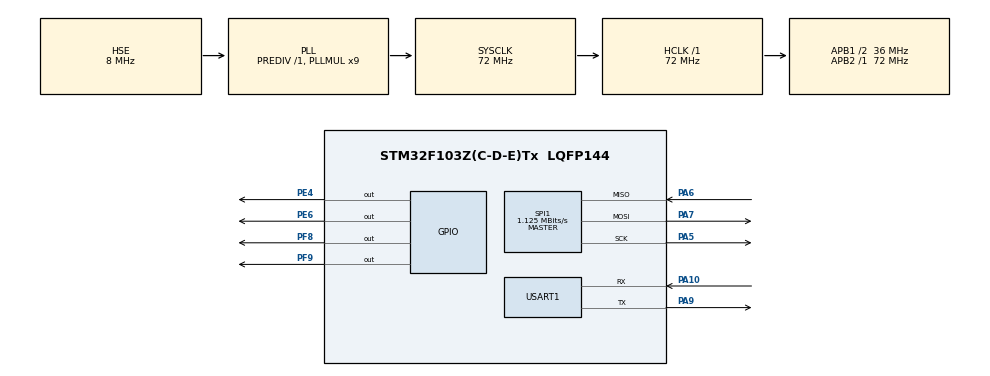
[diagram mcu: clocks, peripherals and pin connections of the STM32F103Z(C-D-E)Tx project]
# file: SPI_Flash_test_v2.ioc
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Mcu.Family=STM32F1
Mcu.Name=STM32F103Z(C-D-E)Tx
Mcu.Package=LQFP144
NVIC.PriorityGroup=NVIC_PRIORITYGROUP_4
OSC_IN.Mode=HSE-External-Oscillator
OSC_IN.Signal=RCC_OSC_IN
OSC_OUT.Mode=HSE-External-Oscillator
OSC_OUT.Signal=RCC_OSC_OUT
PA10.Mode=Asynchronous
PA10.Signal=USART1_RX
PA13.Mode=Serial_Wire
PA13.Signal=SYS_JTMS-SWDIO
PA14.Mode=Serial_Wire
PA14.Signal=SYS_JTCK-SWCLK
PA5.Mode=Full_Duplex_Master
PA5.Signal=SPI1_SCK
PA6.Mode=Full_Duplex_Master
PA6.Signal=SPI1_MISO
PA7.Mode=Full_Duplex_Master
PA7.Signal=SPI1_MOSI
PA9.Mode=Asynchronous
PA9.Signal=USART1_TX
PE4.PinState=GPIO_PIN_SET
PE4.Signal=GPIO_Output
PE6.PinState=GPIO_PIN_SET
PE6.Signal=GPIO_Output
PF8.GPIO_ModeDefaultOutputPP=GPIO_MODE_OUTPUT_OD
PF8.GPIO_PuPd=GPIO_NOPULL
PF8.PinState=GPIO_PIN_SET
PF8.Signal=GPIO_Output
PF9.GPIO_ModeDefaultOutputPP=GPIO_MODE_OUTPUT_OD
PF9.GPIO_PuPd=GPIO_NOPULL
PF9.Signal=GPIO_Output
ProjectManager.HeapSize=0x200
ProjectManager.StackSize=0x400
ProjectManager.TargetToolchain=MDK-ARM V5.32
RCC.AHBFreq_Value=72000000
RCC.APB1CLKDivider=RCC_HCLK_DIV2
RCC.APB1Freq_Value=36000000
RCC.APB1TimFreq_Value=72000000
RCC.APB2Freq_Value=72000000
RCC.APB2TimFreq_Value=72000000
RCC.HCLKFreq_Value=72000000
RCC.PLLMUL=RCC_PLL_MUL9
RCC.PLLSourceVirtual=RCC_PLLSOURCE_HSE
RCC.SYSCLKFreq_VALUE=72000000
RCC.SYSCLKSource=RCC_SYSCLKSOURCE_PLLCLK
RCC.USBFreq_Value=72000000
SPI1.BaudRatePrescaler=SPI_BAUDRATEPRESCALER_64
SPI1.CalculateBaudRate=1.125 MBits/s
SPI1.Direction=SPI_DIRECTION_2LINES
SPI1.Mode=SPI_MODE_MASTER
SPI1.VirtualType=VM_MASTER
USART1.Parity=PARITY_ODD
USART1.VirtualMode=VM_ASYNC
USART1.WordLength=WORDLENGTH_9B
board=custom

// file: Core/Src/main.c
/* USER CODE BEGIN Header */
/**
  ******************************************************************************
  * @file           : main.c
  * @brief          : Main program body
  ******************************************************************************
  * @attention
  *
  * Copyright (c) 2026 STMicroelectronics.
  * All rights reserved.
  *
  * This software is licensed under terms that can be found in the LICENSE file
  * in the root directory of this software component.
  * If no LICENSE file comes with this software, it is provided AS-IS.
  *
  ******************************************************************************
  */
/* USER CODE END Header */
#include "main.h"

/* USER CODE BEGIN Includes */
#include "BSP_LED.h"
#include "BSP_Usart_Redir.h"
#include "BSP_W25Q64.h"
/* USER CODE END Includes */

SPI_HandleTypeDef hspi1;

UART_HandleTypeDef huart1;

void SystemClock_Config(void);
static void MX_GPIO_Init(void);
static void MX_SPI1_Init(void);
static void MX_USART1_UART_Init(void);

int main(void)
{

  /* MCU Configuration--------------------------------------------------------*/

  /* Reset of all peripherals, Initializes the Flash interface and the Systick. */
  HAL_Init();

  /* Configure the system clock */
  SystemClock_Config();

  /* Initialize all configured peripherals */
  MX_GPIO_Init();
  MX_SPI1_Init();
  MX_USART1_UART_Init();
  /* USER CODE BEGIN 2 */
  BSP_Usart_Init(&huart1);
  BSP_W25Qxx_Init(&hspi1);

  /* USER CODE END 2 */

  /* Infinite loop */
  /* USER CODE BEGIN WHILE */
  BSP_W25Qxx_Get_SR1();
  BSP_W25Qxx_Write_Enable();
  BSP_W25Qxx_Get_SR1();
  BSP_W25Qxx_Write_Disable();
  BSP_W25Qxx_Get_SR1();

  uint32_t begin_address = 0;
  uint32_t end_address = 4092;
  uint32_t rx_buffer_first = 0;
  uint32_t rx_buffer_end = 0;
  uint32_t page_program = 0;

  BSP_W25Qxx_Read_Data(begin_address, (uint8_t *)&rx_buffer_first, sizeof(rx_buffer_first));
  BSP_W25Qxx_Read_Data(end_address, (uint8_t *)&rx_buffer_end, sizeof(rx_buffer_end));
  printf(">> 擦除前: rx_buffer_first: 0x%x, rx_buffer_end: 0x%x <<\n", rx_buffer_first, rx_buffer_end);
  BSP_W25Qxx_Sector_Erase(begin_address);
  BSP_W25Qxx_Read_Data(begin_address, (uint8_t *)&rx_buffer_first, sizeof(rx_buffer_first));
  BSP_W25Qxx_Read_Data(end_address, (uint8_t *)&rx_buffer_end, sizeof(rx_buffer_end));
  printf(">> 擦除后: rx_buffer_first: 0x%x, rx_buffer_end: 0x%x <<\n", rx_buffer_first, rx_buffer_end);
  BSP_W25Qxx_Page_Program(0, 0, (uint8_t *)&page_program, sizeof(page_program));
  BSP_W25Qxx_Read_Data(begin_address, (uint8_t *)&rx_buffer_first, sizeof(rx_buffer_first));
  BSP_W25Qxx_Read_Data(end_address, (uint8_t *)&rx_buffer_end, sizeof(rx_buffer_end));
  printf(">> 页编程后: rx_buffer_first: 0x%x, rx_buffer_end: 0x%x <<\n", rx_buffer_first, rx_buffer_end);

  while (1)
  {
    /* USER CODE END WHILE */

  }
}

void SystemClock_Config(void)
{
  RCC_OscInitTypeDef RCC_OscInitStruct = {0};
  RCC_ClkInitTypeDef RCC_ClkInitStruct = {0};

  /** Initializes the RCC Oscillators according to the specified parameters
  * in the RCC_OscInitTypeDef structure.
  */
  RCC_OscInitStruct.OscillatorType = RCC_OSCILLATORTYPE_HSE;
  RCC_OscInitStruct.HSEState = RCC_HSE_ON;
  RCC_OscInitStruct.HSEPredivValue = RCC_HSE_PREDIV_DIV1;
  RCC_OscInitStruct.HSIState = RCC_HSI_ON;
  RCC_OscInitStruct.PLL.PLLState = RCC_PLL_ON;
  RCC_OscInitStruct.PLL.PLLSource = RCC_PLLSOURCE_HSE;
  RCC_OscInitStruct.PLL.PLLMUL = RCC_PLL_MUL9;
  if (HAL_RCC_OscConfig(&RCC_OscInitStruct) != HAL_OK)
  {
    Error_Handler();
  }

  /** Initializes the CPU, AHB and APB buses clocks
  */
  RCC_ClkInitStruct.ClockType = RCC_CLOCKTYPE_HCLK|RCC_CLOCKTYPE_SYSCLK
                              |RCC_CLOCKTYPE_PCLK1|RCC_CLOCKTYPE_PCLK2;
  RCC_ClkInitStruct.SYSCLKSource = RCC_SYSCLKSOURCE_PLLCLK;
  RCC_ClkInitStruct.AHBCLKDivider = RCC_SYSCLK_DIV1;
  RCC_ClkInitStruct.APB1CLKDivider = RCC_HCLK_DIV2;
  RCC_ClkInitStruct.APB2CLKDivider = RCC_HCLK_DIV1;

  if (HAL_RCC_ClockConfig(&RCC_ClkInitStruct, FLASH_LATENCY_2) != HAL_OK)
  {
    Error_Handler();
  }
}

static void MX_SPI1_Init(void)
{

  /* SPI1 parameter configuration*/
  hspi1.Instance = SPI1;
  hspi1.Init.Mode = SPI_MODE_MASTER;
  hspi1.Init.Direction = SPI_DIRECTION_2LINES;
  hspi1.Init.DataSize = SPI_DATASIZE_8BIT;
  hspi1.Init.CLKPolarity = SPI_POLARITY_LOW;
  hspi1.Init.CLKPhase = SPI_PHASE_1EDGE;
  hspi1.Init.NSS = SPI_NSS_SOFT;
  hspi1.Init.BaudRatePrescaler = SPI_BAUDRATEPRESCALER_8;
  hspi1.Init.FirstBit = SPI_FIRSTBIT_MSB;
  hspi1.Init.TIMode = SPI_TIMODE_DISABLE;
  hspi1.Init.CRCCalculation = SPI_CRCCALCULATION_DISABLE;
  hspi1.Init.CRCPolynomial = 10;
  if (HAL_SPI_Init(&hspi1) != HAL_OK)
  {
    Error_Handler();
  }

}

static void MX_USART1_UART_Init(void)
{

  huart1.Instance = USART1;
  huart1.Init.BaudRate = 115200;
  huart1.Init.WordLength = UART_WORDLENGTH_9B;
  huart1.Init.StopBits = UART_STOPBITS_1;
  huart1.Init.Parity = UART_PARITY_ODD;
  huart1.Init.Mode = UART_MODE_TX_RX;
  huart1.Init.HwFlowCtl = UART_HWCONTROL_NONE;
  huart1.Init.OverSampling = UART_OVERSAMPLING_16;
  if (HAL_UART_Init(&huart1) != HAL_OK)
  {
    Error_Handler();
  }

}

static void MX_GPIO_Init(void)
{
  GPIO_InitTypeDef GPIO_InitStruct = {0};

  /* GPIO Ports Clock Enable */
  __HAL_RCC_GPIOE_CLK_ENABLE();
  __HAL_RCC_GPIOF_CLK_ENABLE();
  __HAL_RCC_GPIOA_CLK_ENABLE();

  /*Configure GPIO pin Output Level */
  HAL_GPIO_WritePin(GPIOE, GPIO_PIN_4|GPIO_PIN_6, GPIO_PIN_SET);

  /*Configure GPIO pin Output Level */
  HAL_GPIO_WritePin(GPIOF, GPIO_PIN_8, GPIO_PIN_RESET);

  /*Configure GPIO pin Output Level */
  HAL_GPIO_WritePin(GPIOF, GPIO_PIN_9, GPIO_PIN_SET);

  /*Configure GPIO pins : PE4 PE6 */
  GPIO_InitStruct.Pin = GPIO_PIN_4|GPIO_PIN_6;
  GPIO_InitStruct.Mode = GPIO_MODE_OUTPUT_PP;
  GPIO_InitStruct.Pull = GPIO_NOPULL;
  GPIO_InitStruct.Speed = GPIO_SPEED_FREQ_LOW;
  HAL_GPIO_Init(GPIOE, &GPIO_InitStruct);

  /*Configure GPIO pins : PF8 PF9 */
  GPIO_InitStruct.Pin = GPIO_PIN_8|GPIO_PIN_9;
  GPIO_InitStruct.Mode = GPIO_MODE_OUTPUT_OD;
  GPIO_InitStruct.Pull = GPIO_NOPULL;
  GPIO_InitStruct.Speed = GPIO_SPEED_FREQ_LOW;
  HAL_GPIO_Init(GPIOF, &GPIO_InitStruct);

}

void Error_Handler(void)
{
  __disable_irq();
  while (1)
  {
  }
}
